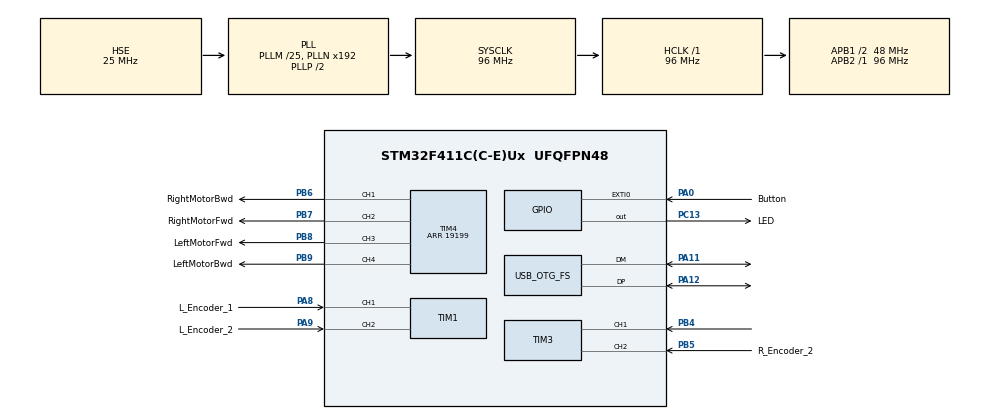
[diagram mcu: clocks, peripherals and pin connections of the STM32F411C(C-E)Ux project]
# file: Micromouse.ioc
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Mcu.Family=STM32F4
Mcu.Name=STM32F411C(C-E)Ux
Mcu.Package=UFQFPN48
NVIC.EXTI0_IRQn=true\:0\:0\:false\:false\:true\:true\:true\:true
NVIC.OTG_FS_IRQn=true\:0\:0\:false\:false\:true\:false\:true\:true
NVIC.PriorityGroup=NVIC_PRIORITYGROUP_4
NVIC.TIM4_IRQn=true\:0\:0\:false\:false\:true\:true\:true\:true
PA0-WKUP.GPIO_Label=Button
PA0-WKUP.GPIO_ModeDefaultEXTI=GPIO_MODE_IT_RISING_FALLING
PA0-WKUP.GPIO_PuPd=GPIO_PULLUP
PA0-WKUP.Signal=GPXTI0
PA11.Mode=Device_Only
PA11.Signal=USB_OTG_FS_DM
PA12.Mode=Device_Only
PA12.Signal=USB_OTG_FS_DP
PA8.GPIO_Label=L_Encoder_1
PA8.Signal=S_TIM1_CH1
PA9.GPIO_Label=L_Encoder_2
PA9.Signal=S_TIM1_CH2
PB4.Signal=S_TIM3_CH1
PB5.GPIO_Label=R_Encoder_2
PB5.Signal=S_TIM3_CH2
PB6.GPIO_Label=RightMotorBwd
PB6.Signal=S_TIM4_CH1
PB7.GPIO_Label=RightMotorFwd
PB7.Signal=S_TIM4_CH2
PB8.GPIO_Label=LeftMotorFwd
PB8.Signal=S_TIM4_CH3
PB9.GPIO_Label=LeftMotorBwd
PB9.Signal=S_TIM4_CH4
PC13-ANTI_TAMP.GPIO_Label=LED
PC13-ANTI_TAMP.PinState=GPIO_PIN_SET
PC13-ANTI_TAMP.Signal=GPIO_Output
PH0\ -\ OSC_IN.Mode=HSE-External-Oscillator
PH0\ -\ OSC_IN.Signal=RCC_OSC_IN
PH1\ -\ OSC_OUT.Mode=HSE-External-Oscillator
PH1\ -\ OSC_OUT.Signal=RCC_OSC_OUT
ProjectManager.HeapSize=0x200
ProjectManager.StackSize=0x1000
ProjectManager.TargetToolchain=CMake
RCC.48MHZClocksFreq_Value=48000000
RCC.AHBFreq_Value=96000000
RCC.APB1CLKDivider=RCC_HCLK_DIV2
RCC.APB1Freq_Value=48000000
RCC.APB1TimFreq_Value=96000000
RCC.APB2Freq_Value=96000000
RCC.APB2TimFreq_Value=96000000
RCC.CortexFreq_Value=96000000
RCC.HCLKFreq_Value=96000000
RCC.HSE_VALUE=25000000
RCC.HSI_VALUE=16000000
RCC.LSE_VALUE=32768
RCC.PLLM=25
RCC.SYSCLKFreq_VALUE=96000000
RCC.SYSCLKSource=RCC_SYSCLKSOURCE_PLLCLK
RCC.VCOOutputFreq_Value=192000000
SH.S_TIM1_CH1.0=TIM1_CH1,Encoder_Interface
SH.S_TIM1_CH2.0=TIM1_CH2,Encoder_Interface
SH.S_TIM3_CH1.0=TIM3_CH1,Encoder_Interface
SH.S_TIM3_CH2.0=TIM3_CH2,Encoder_Interface
SH.S_TIM4_CH1.0=TIM4_CH1,PWM Generation1 CH1
SH.S_TIM4_CH2.0=TIM4_CH2,PWM Generation2 CH2
SH.S_TIM4_CH3.0=TIM4_CH3,PWM Generation3 CH3
SH.S_TIM4_CH4.0=TIM4_CH4,PWM Generation4 CH4
TIM1.EncoderMode=TIM_ENCODERMODE_TI12
TIM3.EncoderMode=TIM_ENCODERMODE_TI12
TIM4.Channel-PWM\ Generation1\ CH1=TIM_CHANNEL_1
TIM4.Channel-PWM\ Generation2\ CH2=TIM_CHANNEL_2
TIM4.Channel-PWM\ Generation3\ CH3=TIM_CHANNEL_3
TIM4.Channel-PWM\ Generation4\ CH4=TIM_CHANNEL_4
TIM4.Period=19199
USB_DEVICE.CLASS_NAME_FS=CDC
USB_DEVICE.VirtualMode=Cdc
USB_DEVICE.VirtualModeFS=Cdc_FS
USB_OTG_FS.VirtualMode=Device_Only
VP_USB_DEVICE_VS_USB_DEVICE_CDC_FS.Mode=CDC_FS
board=custom

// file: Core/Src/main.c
/* USER CODE BEGIN Header */
/**
  ******************************************************************************
  * @file           : main.c
  * @brief          : Main program body
  ******************************************************************************
  * @attention
  *
  * Copyright (c) 2026 STMicroelectronics.
  * All rights reserved.
  *
  * This software is licensed under terms that can be found in the LICENSE file
  * in the root directory of this software component.
  * If no LICENSE file comes with this software, it is provided AS-IS.
  *
  ******************************************************************************
  */
/* USER CODE END Header */
#include "main.h"
#include "usb_device.h"

/* USER CODE BEGIN Includes */
#include "motors.h"
#include "encoders.h"
#include <stdio.h>
#include "usbd_cdc_if.h"

/* USER CODE END Includes */

TIM_HandleTypeDef htim1;
TIM_HandleTypeDef htim3;
TIM_HandleTypeDef htim4;

/* USER CODE BEGIN PV */
__attribute__((section(".noinit"))) uint32_t dfu_boot_flag;
#define DFU_MAGIC_KEY 0x12345678
int buttonPressed = 0; // Flag to track button press state
uint32_t pressTime;

int16_t left_counts = 0;
int16_t right_counts = 0;

/* USER CODE END PV */

void SystemClock_Config(void);
static void MX_GPIO_Init(void);
static void MX_TIM1_Init(void);
static void MX_TIM3_Init(void);
static void MX_TIM4_Init(void);

int main(void)
{

  /* USER CODE BEGIN 1 */
  if (dfu_boot_flag == DFU_MAGIC_KEY) {
    dfu_boot_flag = 0;
    void (*SysMemBootJump)(void) = (void (*)(void))(*((uint32_t *)0x1FFF0004));
    __set_MSP(*((uint32_t *)0x1FFF0000));
    SysMemBootJump();
    while (1);
}

  /* USER CODE END 1 */

  /* MCU Configuration--------------------------------------------------------*/

  /* Reset of all peripherals, Initializes the Flash interface and the Systick. */
  HAL_Init();

  /* Configure the system clock */
  SystemClock_Config();

  /* Initialize all configured peripherals */
  MX_GPIO_Init();
  MX_USB_DEVICE_Init();
  MX_TIM1_Init();
  MX_TIM3_Init();
  MX_TIM4_Init();
  /* USER CODE BEGIN 2 */
HAL_TIM_Encoder_Start(&htim1, TIM_CHANNEL_ALL);
HAL_TIM_Encoder_Start(&htim3, TIM_CHANNEL_ALL);
resetEncoders();

HAL_TIM_PWM_Start(&htim4, TIM_CHANNEL_1);
HAL_TIM_PWM_Start(&htim4, TIM_CHANNEL_2);
HAL_TIM_PWM_Start(&htim4, TIM_CHANNEL_3);
HAL_TIM_PWM_Start(&htim4, TIM_CHANNEL_4);
resetMotors();

setMotorLPWM(0.3f);
setMotorRPWM(-0.5f);
HAL_Delay(2000);
resetMotors();
  /* USER CODE END 2 */

  /* Infinite loop */
  /* USER CODE BEGIN WHILE */
  while (1)
  {
    left_counts = getLeftEncoderCounts();
    right_counts = getRightEncoderCounts();

    /* USER CODE END WHILE */

    /* USER CODE BEGIN 3 */
    static uint32_t last_tx = 0;
    char buf[512];
    if (HAL_GetTick() - last_tx >= 50) {
        last_tx = HAL_GetTick();
        int n = snprintf(buf, sizeof(buf), ">left:%d\n>right:%d\n",
                        left_counts, right_counts);
        CDC_Transmit_FS((uint8_t *) buf, (uint16_t) n);
    }

    if (buttonPressed) {
        uint32_t currentTime = HAL_GetTick();
        if (currentTime - pressTime >= 1000) { // 1 second
            dfu_boot_flag = DFU_MAGIC_KEY;
            HAL_NVIC_SystemReset();
        }
    }
  }
  /* USER CODE END 3 */
}

void SystemClock_Config(void)
{
  RCC_OscInitTypeDef RCC_OscInitStruct = {0};
  RCC_ClkInitTypeDef RCC_ClkInitStruct = {0};

  /** Configure the main internal regulator output voltage
  */
  __HAL_RCC_PWR_CLK_ENABLE();
  __HAL_PWR_VOLTAGESCALING_CONFIG(PWR_REGULATOR_VOLTAGE_SCALE1);

  /** Initializes the RCC Oscillators according to the specified parameters
  * in the RCC_OscInitTypeDef structure.
  */
  RCC_OscInitStruct.OscillatorType = RCC_OSCILLATORTYPE_HSE;
  RCC_OscInitStruct.HSEState = RCC_HSE_ON;
  RCC_OscInitStruct.PLL.PLLState = RCC_PLL_ON;
  RCC_OscInitStruct.PLL.PLLSource = RCC_PLLSOURCE_HSE;
  RCC_OscInitStruct.PLL.PLLM = 25;
  RCC_OscInitStruct.PLL.PLLN = 192;
  RCC_OscInitStruct.PLL.PLLP = RCC_PLLP_DIV2;
  RCC_OscInitStruct.PLL.PLLQ = 4;
  if (HAL_RCC_OscConfig(&RCC_OscInitStruct) != HAL_OK)
  {
    Error_Handler();
  }

  /** Initializes the CPU, AHB and APB buses clocks
  */
  RCC_ClkInitStruct.ClockType = RCC_CLOCKTYPE_HCLK|RCC_CLOCKTYPE_SYSCLK
                              |RCC_CLOCKTYPE_PCLK1|RCC_CLOCKTYPE_PCLK2;
  RCC_ClkInitStruct.SYSCLKSource = RCC_SYSCLKSOURCE_PLLCLK;
  RCC_ClkInitStruct.AHBCLKDivider = RCC_SYSCLK_DIV1;
  RCC_ClkInitStruct.APB1CLKDivider = RCC_HCLK_DIV2;
  RCC_ClkInitStruct.APB2CLKDivider = RCC_HCLK_DIV1;

  if (HAL_RCC_ClockConfig(&RCC_ClkInitStruct, FLASH_LATENCY_3) != HAL_OK)
  {
    Error_Handler();
  }
}

static void MX_TIM1_Init(void)
{

  TIM_Encoder_InitTypeDef sConfig = {0};
  TIM_MasterConfigTypeDef sMasterConfig = {0};

  htim1.Instance = TIM1;
  htim1.Init.Prescaler = 0;
  htim1.Init.CounterMode = TIM_COUNTERMODE_UP;
  htim1.Init.Period = 65535;
  htim1.Init.ClockDivision = TIM_CLOCKDIVISION_DIV1;
  htim1.Init.RepetitionCounter = 0;
  htim1.Init.AutoReloadPreload = TIM_AUTORELOAD_PRELOAD_DISABLE;
  sConfig.EncoderMode = TIM_ENCODERMODE_TI12;
  sConfig.IC1Polarity = TIM_ICPOLARITY_RISING;
  sConfig.IC1Selection = TIM_ICSELECTION_DIRECTTI;
  sConfig.IC1Prescaler = TIM_ICPSC_DIV1;
  sConfig.IC1Filter = 0;
  sConfig.IC2Polarity = TIM_ICPOLARITY_RISING;
  sConfig.IC2Selection = TIM_ICSELECTION_DIRECTTI;
  sConfig.IC2Prescaler = TIM_ICPSC_DIV1;
  sConfig.IC2Filter = 0;
  if (HAL_TIM_Encoder_Init(&htim1, &sConfig) != HAL_OK)
  {
    Error_Handler();
  }
  sMasterConfig.MasterOutputTrigger = TIM_TRGO_RESET;
  sMasterConfig.MasterSlaveMode = TIM_MASTERSLAVEMODE_DISABLE;
  if (HAL_TIMEx_MasterConfigSynchronization(&htim1, &sMasterConfig) != HAL_OK)
  {
    Error_Handler();
  }

}

static void MX_TIM3_Init(void)
{

  TIM_Encoder_InitTypeDef sConfig = {0};
  TIM_MasterConfigTypeDef sMasterConfig = {0};

  htim3.Instance = TIM3;
  htim3.Init.Prescaler = 0;
  htim3.Init.CounterMode = TIM_COUNTERMODE_UP;
  htim3.Init.Period = 65535;
  htim3.Init.ClockDivision = TIM_CLOCKDIVISION_DIV1;
  htim3.Init.AutoReloadPreload = TIM_AUTORELOAD_PRELOAD_DISABLE;
  sConfig.EncoderMode = TIM_ENCODERMODE_TI12;
  sConfig.IC1Polarity = TIM_ICPOLARITY_RISING;
  sConfig.IC1Selection = TIM_ICSELECTION_DIRECTTI;
  sConfig.IC1Prescaler = TIM_ICPSC_DIV1;
  sConfig.IC1Filter = 0;
  sConfig.IC2Polarity = TIM_ICPOLARITY_RISING;
  sConfig.IC2Selection = TIM_ICSELECTION_DIRECTTI;
  sConfig.IC2Prescaler = TIM_ICPSC_DIV1;
  sConfig.IC2Filter = 0;
  if (HAL_TIM_Encoder_Init(&htim3, &sConfig) != HAL_OK)
  {
    Error_Handler();
  }
  sMasterConfig.MasterOutputTrigger = TIM_TRGO_RESET;
  sMasterConfig.MasterSlaveMode = TIM_MASTERSLAVEMODE_DISABLE;
  if (HAL_TIMEx_MasterConfigSynchronization(&htim3, &sMasterConfig) != HAL_OK)
  {
    Error_Handler();
  }

}

static void MX_TIM4_Init(void)
{

  TIM_MasterConfigTypeDef sMasterConfig = {0};
  TIM_OC_InitTypeDef sConfigOC = {0};

  htim4.Instance = TIM4;
  htim4.Init.Prescaler = 0;
  htim4.Init.CounterMode = TIM_COUNTERMODE_UP;
  htim4.Init.Period = 19199;
  htim4.Init.ClockDivision = TIM_CLOCKDIVISION_DIV1;
  htim4.Init.AutoReloadPreload = TIM_AUTORELOAD_PRELOAD_DISABLE;
  if (HAL_TIM_PWM_Init(&htim4) != HAL_OK)
  {
    Error_Handler();
  }
  sMasterConfig.MasterOutputTrigger = TIM_TRGO_RESET;
  sMasterConfig.MasterSlaveMode = TIM_MASTERSLAVEMODE_DISABLE;
  if (HAL_TIMEx_MasterConfigSynchronization(&htim4, &sMasterConfig) != HAL_OK)
  {
    Error_Handler();
  }
  sConfigOC.OCMode = TIM_OCMODE_PWM1;
  sConfigOC.Pulse = 0;
  sConfigOC.OCPolarity = TIM_OCPOLARITY_HIGH;
  sConfigOC.OCFastMode = TIM_OCFAST_DISABLE;
  if (HAL_TIM_PWM_ConfigChannel(&htim4, &sConfigOC, TIM_CHANNEL_1) != HAL_OK)
  {
    Error_Handler();
  }
  if (HAL_TIM_PWM_ConfigChannel(&htim4, &sConfigOC, TIM_CHANNEL_2) != HAL_OK)
  {
    Error_Handler();
  }
  if (HAL_TIM_PWM_ConfigChannel(&htim4, &sConfigOC, TIM_CHANNEL_3) != HAL_OK)
  {
    Error_Handler();
  }
  if (HAL_TIM_PWM_ConfigChannel(&htim4, &sConfigOC, TIM_CHANNEL_4) != HAL_OK)
  {
    Error_Handler();
  }
  HAL_TIM_MspPostInit(&htim4);

}

static void MX_GPIO_Init(void)
{
  GPIO_InitTypeDef GPIO_InitStruct = {0};

  /* GPIO Ports Clock Enable */
  __HAL_RCC_GPIOC_CLK_ENABLE();
  __HAL_RCC_GPIOH_CLK_ENABLE();
  __HAL_RCC_GPIOA_CLK_ENABLE();
  __HAL_RCC_GPIOB_CLK_ENABLE();

  /*Configure GPIO pin Output Level */
  HAL_GPIO_WritePin(LED_GPIO_Port, LED_Pin, GPIO_PIN_SET);

  /*Configure GPIO pin : LED_Pin */
  GPIO_InitStruct.Pin = LED_Pin;
  GPIO_InitStruct.Mode = GPIO_MODE_OUTPUT_PP;
  GPIO_InitStruct.Pull = GPIO_NOPULL;
  GPIO_InitStruct.Speed = GPIO_SPEED_FREQ_LOW;
  HAL_GPIO_Init(LED_GPIO_Port, &GPIO_InitStruct);

  /*Configure GPIO pin : Button_Pin */
  GPIO_InitStruct.Pin = Button_Pin;
  GPIO_InitStruct.Mode = GPIO_MODE_IT_RISING_FALLING;
  GPIO_InitStruct.Pull = GPIO_PULLUP;
  HAL_GPIO_Init(Button_GPIO_Port, &GPIO_InitStruct);

  /* EXTI interrupt init*/
  HAL_NVIC_SetPriority(EXTI0_IRQn, 0, 0);
  HAL_NVIC_EnableIRQ(EXTI0_IRQn);

}

/* USER CODE BEGIN 4 */
void HAL_GPIO_EXTI_Callback(uint16_t GPIO_PIN)
{
 // HAL_GPIO_WritePin(LED_GPIO_Port, LED_Pin, GPIO_PIN_RESET);
	if (GPIO_PIN == Button_Pin)
	{

  if (HAL_GPIO_ReadPin(Button_GPIO_Port, Button_Pin) == GPIO_PIN_RESET)
  {
    HAL_GPIO_WritePin(LED_GPIO_Port, LED_Pin, GPIO_PIN_RESET);
    buttonPressed = 1; // Set the button pressed flag
    pressTime =HAL_GetTick();

  }
  else
  {
    HAL_GPIO_WritePin(LED_GPIO_Port, LED_Pin, GPIO_PIN_SET);
    buttonPressed = 0; // Clear the button pressed flag
  }

}
}

/* USER CODE END 4 */

void Error_Handler(void)
{
  __disable_irq();
  while (1)
  {
  }
}
